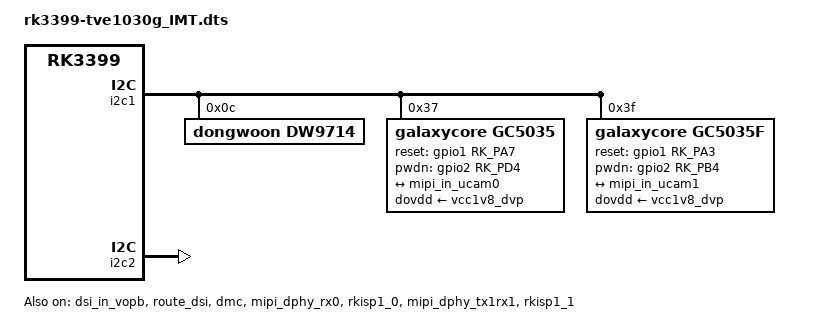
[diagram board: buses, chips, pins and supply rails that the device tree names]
/*
 * Copyright (c) 2018 Fuzhou Rockchip Electronics Co., Ltd
 *
 * SPDX-License-Identifier: (GPL-2.0+ OR MIT)
 */

/dts-v1/;
#include "rk3399-tve1030g_IMT.dtsi"
//#include "rk3399-firefly-core.dtsi"
//#include "rk3399-firefly-aioc-ai.dtsi" 
/ {
	compatible = "rockchip,rk3399-tve1030g", "rockchip,rk3399";

	test-power {
		status = "disabled";
	};

};

&firmware_android {
	compatible = "android,firmware";
	boot_devices = "fe330000.sdhci";
	fstab {
		compatible = "android,fstab";
		vendor {
			compatible = "android,vendor";
			dev = "/dev/block/by-name/vendor";
			type = "ext4";
			mnt_flags = "ro,barrier=1,inode_readahead_blks=8";
			fsmgr_flags = "wait";
		};
	};
};


&hdmi {
    status = "disabled";
};

&hdmi_in_vopb {
        status = "disabled";
};
&hdmi_in_vopl {
        status = "disabled";
};

&route_hdmi {
	status = "disabled";
	logo,mode = "center";
};

&hdmi_dp_sound {
    status = "disabled";
};


&dp_in_vopb {
    status = "disabled";
};
&dsi_in_vopl {
	status = "disabled";
};

&dsi_in_vopb {
	status = "okay";
};

&route_dsi {
	status = "okay";
	logo,mode = "center";
};

&dmc {
	status = "okay";
	system-status-freq = <
		/*system status         freq(KHz)*/
		SYS_STATUS_NORMAL       856000
		SYS_STATUS_REBOOT       416000
		SYS_STATUS_SUSPEND      416000
		SYS_STATUS_VIDEO_1080P  856000
		SYS_STATUS_VIDEO_4K     856000
		SYS_STATUS_VIDEO_4K_10B 856000
		SYS_STATUS_PERFORMANCE  856000
		SYS_STATUS_BOOST        856000
		SYS_STATUS_DUALVIEW     856000
		SYS_STATUS_ISP          856000
	>;
	vop-bw-dmc-freq = <
	/* min_bw(MB/s) max_bw(MB/s) freq(KHz) */
		0       577      416000
		578     99999    856000
	>;
	auto-min-freq = <416000>;
	auto-freq-en = <0>;
};

&dmc_opp_table {
	compatible = "operating-points-v2";

	opp-200000000 {
		opp-hz = /bits/ 64 <200000000>;
		opp-microvolt = <825000>;
		status = "disabled";
	};
	opp-300000000 {
		opp-hz = /bits/ 64 <300000000>;
		opp-microvolt = <850000>;
		status = "disabled";
	};
	opp-400000000 {
		opp-hz = /bits/ 64 <400000000>;
		opp-microvolt = <900000>;
		status = "disabled";
	};
	opp-416000000 {
		opp-hz = /bits/ 64 <416000000>;
		opp-microvolt = <900000>;
	};
	opp-528000000 {
		opp-hz = /bits/ 64 <528000000>;
		opp-microvolt = <900000>;
		status = "disabled";
	};
	opp-600000000 {
		opp-hz = /bits/ 64 <600000000>;
		opp-microvolt = <900000>;
		status = "disabled";
	};
	opp-800000000 {
		opp-hz = /bits/ 64 <800000000>;
		opp-microvolt = <900000>;
		status = "disabled";
	};
	opp-856000000 {
		opp-hz = /bits/ 64 <856000000>;
		opp-microvolt = <900000>;
	};
	opp-928000000 {
		opp-hz = /bits/ 64 <928000000>;
		opp-microvolt = <900000>;
		status = "disabled";
	};
	opp-1056000000 {
		opp-hz = /bits/ 64 <1056000000>;
		opp-microvolt = <900000>;
		status = "disabled";
	};
};


&i2c1 {
	status = "okay";

	dw9714: dw9714@0c {
		compatible = "dongwoon,dw9714";
		status = "okay";
		reg = <0x0c>;
		rockchip,camera-module-index = <0>;
		rockchip,vcm-start-current = <0>;
		rockchip,vcm-rated-current = <95>;
		rockchip,vcm-step-mode = <5>;
		rockchip,camera-module-facing = "back";
	};



	gc5035: gc5035@37 {
		compatible = "galaxycore,gc5035";
		status = "okay";
		reg = <0x37>;
		clocks = <&cru SCLK_CIF_OUT>;
		clock-names = "xvclk";
		dovdd-supply = <&vcc1v8_dvp>;
		reset-gpios = <&gpio1 RK_PA7 GPIO_ACTIVE_HIGH>;
		pwdn-gpios = <&gpio2 RK_PD4 GPIO_ACTIVE_HIGH>;//back
		pinctrl-names = "rockchip,camera_default";
		pinctrl-0 = <&cif_clkout>;

		rockchip,camera-module-index = <0>;
		rockchip,camera-module-facing = "back";
		rockchip,camera-module-name = "HSS-JJ31-B-V1";	
		rockchip,camera-module-lens-name = "OPT532-2";
		lens-focus = <&dw9714>;

		port {
			ucam_out0: endpoint {
				remote-endpoint = <&mipi_in_ucam0>;
				//remote-endpoint = <&mipi_in_ucam1>;
				data-lanes = <1 2>;
			};
		};
	};

	gc5035f: gc5035f@3f {
		status = "okay";
		compatible = "galaxycore,gc5035f";
		reg = <0x3f>;
		clocks = <&cru SCLK_CIF_OUT>;
		clock-names = "xvclk";
		dovdd-supply = <&vcc1v8_dvp>;
		reset-gpios = <&gpio1 RK_PA3 GPIO_ACTIVE_HIGH>;
		pwdn-gpios = <&gpio2 RK_PB4 GPIO_ACTIVE_HIGH>;//front
		pinctrl-names = "rockchip,camera_default";
		pinctrl-0 = <&cif_clkout>;
		rockchip,camera-module-index = <1>;
		rockchip,camera-module-facing = "front";
		rockchip,camera-module-name = "HSS-JJ31-F-V1";	
		rockchip,camera-module-lens-name = "OPT532-2";
		port {
			ucam_out1: endpoint {
				//remote-endpoint = <&mipi_in_ucam0>;
				remote-endpoint = <&mipi_in_ucam1>;
				data-lanes = <1 2>;
			};
		};
	};

};

&isp0 {
	status = "disabled";
};


&mipi_dphy_rx0 {
	status = "okay";

	ports {
		#address-cells = <1>;
		#size-cells = <0>;

		port@0 {
			reg = <0>;
			#address-cells = <1>;
			#size-cells = <0>;

			mipi_in_ucam0: endpoint@1 {
				reg = <1>;
				remote-endpoint = <&ucam_out0>;
				data-lanes = <1 2>;
			};
		};

		port@1 {
			reg = <1>;
			#address-cells = <1>;
			#size-cells = <0>;

			dphy_rx0_out: endpoint@0 {
				reg = <0>;
				remote-endpoint = <&isp0_mipi_in>;
			};
		};
	};
};


&rkisp1_0 {
	status = "okay";

	port {
		#address-cells = <1>;
		#size-cells = <0>;

		isp0_mipi_in: endpoint@0 {
			reg = <0>;
			remote-endpoint = <&dphy_rx0_out>;
		};
	};
};


&isp0_mmu {
status = "okay"; // isp 驱动使用了 iommu,所以 isp iommu 也需要打开
};


&isp1 {
	status = "disabled";
};

&mipi_dphy_tx1rx1 {
	status = "okay";

	ports {
		#address-cells = <1>;
		#size-cells = <0>;

		port@0 {
			reg = <0>;
			#address-cells = <1>;
			#size-cells = <0>;

			mipi_in_ucam1: endpoint@1 {
				reg = <1>;
				remote-endpoint = <&ucam_out1>;
				data-lanes = <1 2>;
			};
		};

		port@1 {
			reg = <1>;
			#address-cells = <1>;
			#size-cells = <0>;

			dphy_tx1rx1_out: endpoint@0 {
				reg = <0>;
				remote-endpoint = <&isp1_mipi_in>;
			};
		};
	};
};

&rkisp1_1 {
	status = "okay";

	port {
		#address-cells = <1>;
		#size-cells = <0>;

		isp1_mipi_in: endpoint@0 {
			reg = <0>;
			remote-endpoint = <&dphy_tx1rx1_out>;
		};
	};
};

&isp1_mmu {
status = "okay"; // isp 驱动使用了 iommu,所以 isp iommu 也需要打开
};

&sdmmc {
  //  mmc-pwrseq = <&sdmmc_pwrseq>;
    sd-uhs-sdr104;
};
&i2c2 {
    status = "okay";
    i2c-scl-rising-time-ns = <300>;
    i2c-scl-falling-time-ns = <15>;
};

&uart4 {
    status = "disabled";
};
&spi1 {
	status = "disabled";
};


&gmac {
    tx_delay = <0x2F>;
    rx_delay = <0x26>;
};




